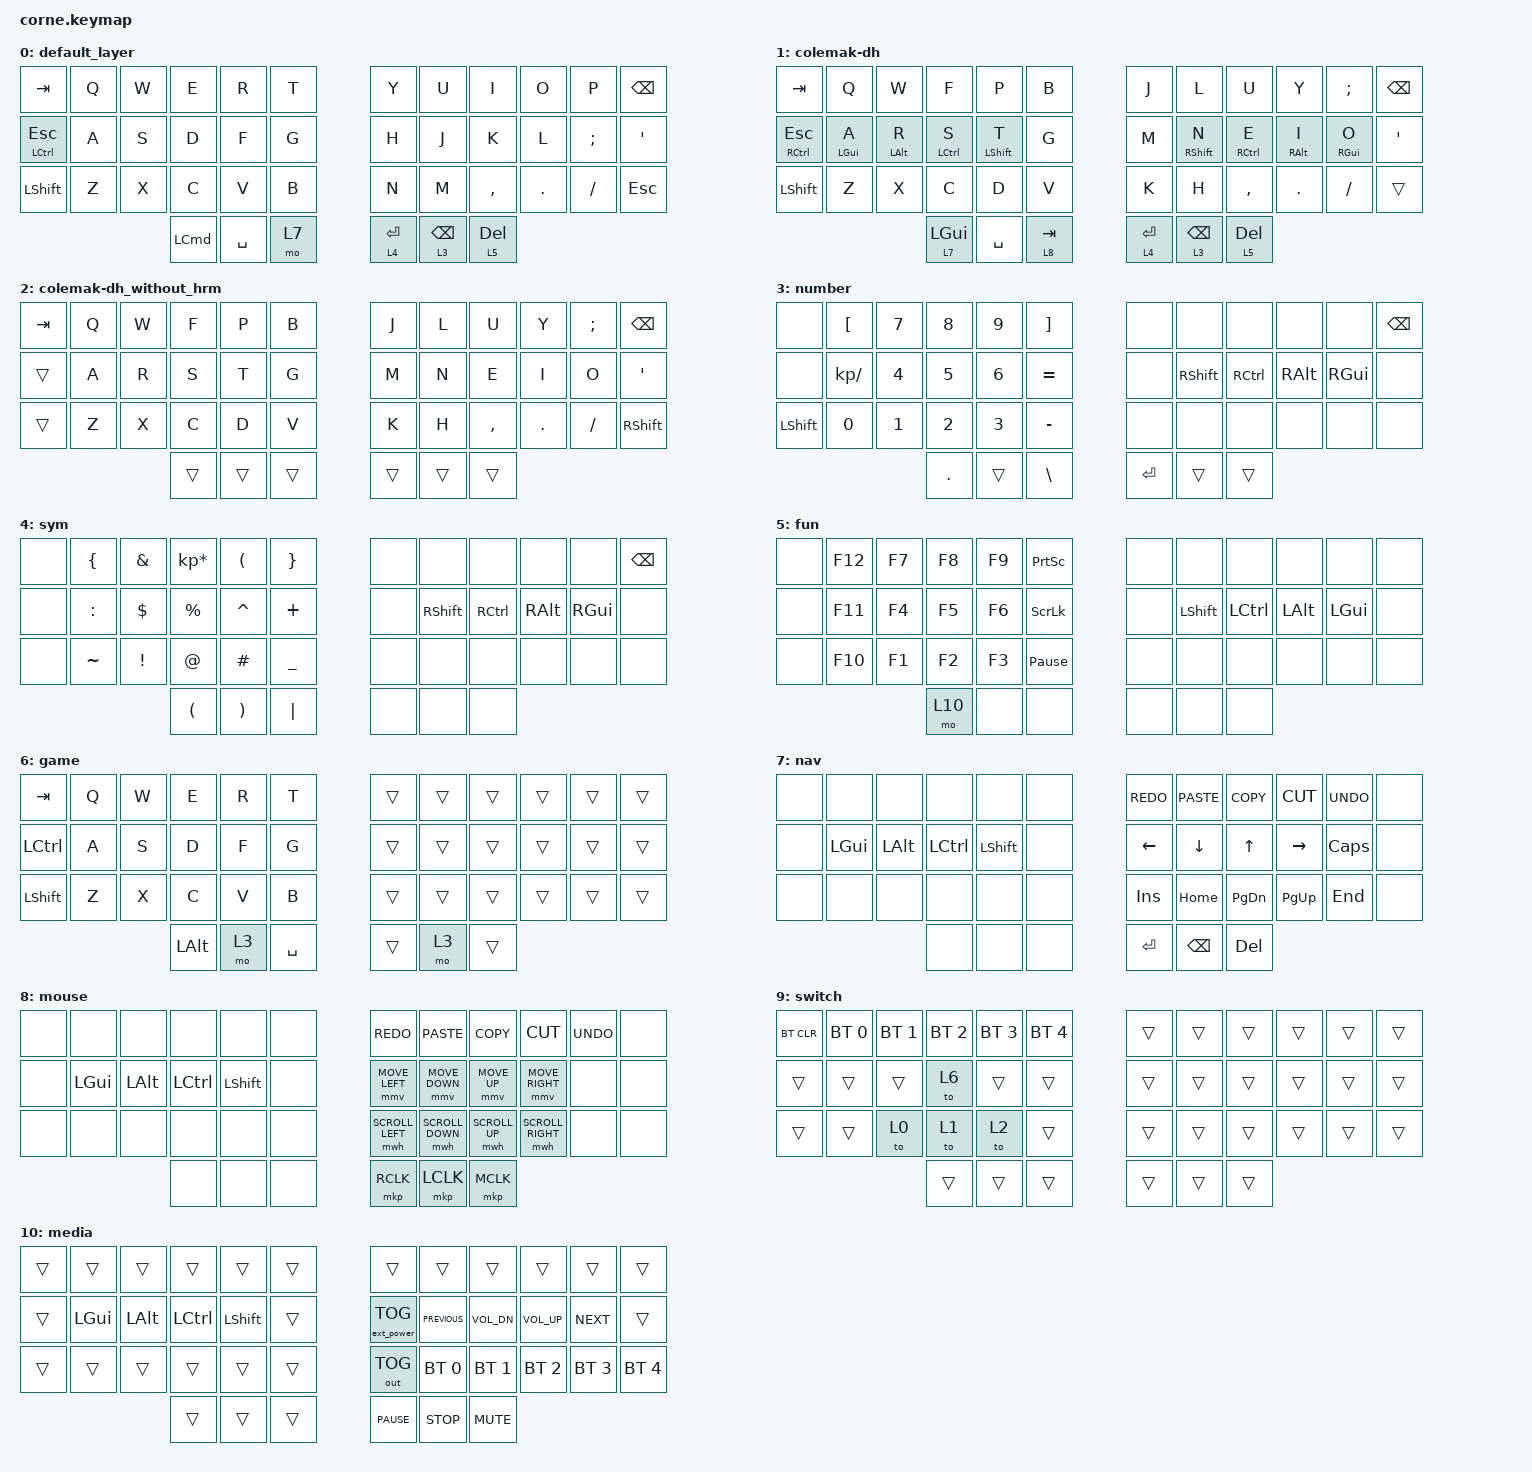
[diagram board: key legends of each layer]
/*
 * Copyright (c) 2020 The ZMK Contributors
 *
 * SPDX-License-Identifier: MIT
 */

#include "helper.h"
#include <dt-bindings/zmk/mouse.h>
#include <behaviors.dtsi>
#include "greek.dtsi"
#include <dt-bindings/zmk/bt.h>
#include <dt-bindings/zmk/ext_power.h>
#include <dt-bindings/zmk/keys.h>
#include <dt-bindings/zmk/outputs.h>

#define U_MOUSE_MOVE_MAX 1400

/ {
    combos {
        compatible = "zmk,combos";

        bracket {
            bindings = <&kp LEFT_PARENTHESIS>;
            key-positions = <15 16>;
        };

        bracket_r {
            bindings = <&kp RIGHT_PARENTHESIS>;
            key-positions = <19 20>;
        };

        lb {
            bindings = <&kp LEFT_BRACKET>;
            key-positions = <4 3>;
        };

        rb {
            bindings = <&kp RIGHT_BRACKET>;
            key-positions = <7 8>;
        };

        lf {
            bindings = <&kp LEFT_BRACE>;
            key-positions = <3 2>;
        };

        rba {
            bindings = <&kp RIGHT_BRACE>;
            key-positions = <8 9>;
        };

        window {
            bindings = <&kp LG(NUMBER_1)>;
            key-positions = <1 36>;
        };

        m2 {
            bindings = <&kp LG(NUMBER_2)>;
            key-positions = <36 2>;
        };

        m3 {
            bindings = <&kp LG(NUMBER_3)>;
            key-positions = <36 3>;
        };

        m4 {
            bindings = <&kp LG(NUMBER_4)>;
            key-positions = <36 4>;
        };

        m5 {
            bindings = <&kp LG(N5)>;
            key-positions = <36 5>;
        };

        m6 {
            bindings = <&kp LG(NUMBER_6)>;
            key-positions = <36 13>;
        };

        m7 {
            bindings = <&kp LG(N7)>;
            key-positions = <36 14>;
        };

        m8 {
            bindings = <&kp LG(N8)>;
            key-positions = <36 15>;
        };

        m9 {
            bindings = <&kp LG(N9)>;
            key-positions = <36 16>;
        };

        m0 {
            bindings = <&kp LG(NUMBER_1)>;
            key-positions = <36 17>;
        };
    };

    macros {
    };

    behaviors {
        hml: homewrow_mods_left {
            compatible = "zmk,behavior-hold-tap";
            label = "homewrow_mods_left";
            bindings = <&kp>, <&kp>;

            #binding-cells = <2>;
            hold-trigger-key-positions = <6 7 9 8 10 11 23 22 35 34 33 21 20 19 18 30 31 32 41 40 39>;
            tapping-term-ms = <300>;
            flavor = "balanced";
            quick-tap-ms = <175>;
            require-prior-idle-ms = <150>;
            hold-trigger-on-release;
        };

        hmr: hmr {
            compatible = "zmk,behavior-hold-tap";
            label = "HMR";
            bindings = <&kp>, <&kp>;

            #binding-cells = <2>;
            tapping-term-ms = <300>;
            hold-trigger-key-positions = <0 1 2 3 4 5 12 13 14 15 16 17 24 25 26 27 28 29 36 37 38>;
            flavor = "balanced";
            quick-tap-ms = <175>;
            require-prior-idle-ms = <150>;
            hold-trigger-on-release;
        };
    };

    keymap {
        compatible = "zmk,keymap";

        default_layer {
            // -----------------------------------------------------------------------------------------
            // |  TAB |  Q  |  W  |  E  |  R  |  T  |   |  Y  |  U   |  I  |  O  |  P  | BKSP |
            // | CTRL |  A  |  S  |  D  |  F  |  G  |   |  H  |  J   |  K  |  L  |  ;  |  '   |
            // | SHFT |  Z  |  X  |  C  |  V  |  B  |   |  N  |  M   |  ,  |  .  |  /  | ESC  |
            //                    | GUI | LWR | SPC |   | ENT | RSE  | ALT |

            bindings = <
&kp TAB           &kp Q  &kp W  &kp E     &kp R      &kp T    &kp Y      &kp U            &kp I      &kp O    &kp P     &kp BSPC
&mt LCTRL ESCAPE  &kp A  &kp S  &kp D     &kp F      &kp G    &kp H      &kp J            &kp K      &kp L    &kp SEMI  &kp SQT
&kp LSHFT         &kp Z  &kp X  &kp C     &kp V      &kp B    &kp N      &kp M            &kp COMMA  &kp DOT  &kp FSLH  &kp ESC
                                &kp LCMD  &kp SPACE  &mo 7    &lt 4 RET  &lt 3 BACKSPACE  &lt 5 DEL
            >;
        };

        colemak-dh {
            bindings = <
&kp TAB           &kp Q            &kp W            &kp F         &kp P              &kp B        &kp J        &kp L               &kp U                 &kp Y             &kp SEMI     &kp BSPC
&mt RCTRL ESCAPE  &hml LEFT_GUI A  &hml LEFT_ALT R  &hml LCTRL S  &hml LEFT_SHIFT T  &kp G        &kp M        &hmr RIGHT_SHIFT N  &hmr RIGHT_CONTROL E  &hmr RIGHT_ALT I  &hmr RGUI O  &kp APOS
&kp LSHFT         &kp Z            &kp X            &kp C         &kp D              &kp V        &kp K        &kp H               &kp COMMA             &kp DOT           &kp FSLH     &trans
                                                    &lt 7 LGUI    &kp SPACE          &lt 8 TAB    &lt 4 ENTER  &lt 3 BACKSPACE     &lt 5 DEL
            >;
        };

        colemak-dh_without_hrm {
            bindings = <
&kp TAB  &kp Q  &kp W  &kp F   &kp P   &kp B     &kp J   &kp L   &kp U      &kp Y    &kp SEMI  &kp BSPC
&trans   &kp A  &kp R  &kp S   &kp T   &kp G     &kp M   &kp N   &kp E      &kp I    &kp O     &kp APOS
&trans   &kp Z  &kp X  &kp C   &kp D   &kp V     &kp K   &kp H   &kp COMMA  &kp DOT  &kp FSLH  &kp RSHFT
                       &trans  &trans  &trans    &trans  &trans  &trans
            >;
        };

        number {
            // -----------------------------------------------------------------------------------------
            // |  TAB |  1  |  2  |  3  |  4  |  5  |   |  6  |  7  |  8  |  9  |  0  | BKSP |
            // | BTCLR| BT1 | BT2 | BT3 | BT4 | BT5 |   | LFT | DWN |  UP | RGT |     |      |
            // | SHFT |     |     |     |     |     |   |     |     |     |     |     |      |
            //                    | GUI |     | SPC |   | ENT |     | ALT |

            bindings = <
&none      &kp LEFT_BRACKET  &kp NUMBER_7  &kp NUMBER_8  &kp N9        &kp RIGHT_BRACKET    &none    &none       &none      &none          &none     &kp BSPC
&none      &kp KP_DIVIDE     &kp NUMBER_4  &kp N5        &kp N6        &kp EQUAL            &none    &kp RSHIFT  &kp RCTRL  &kp RIGHT_ALT  &kp RGUI  &none
&kp LSHFT  &kp N0            &kp NUMBER_1  &kp NUMBER_2  &kp NUMBER_3  &kp MINUS            &none    &none       &none      &none          &none     &none
                                           &kp PERIOD    &trans        &kp BSLH             &kp RET  &trans      &trans
            >;
        };

        sym {
            // -----------------------------------------------------------------------------------------
            // |  TAB |  !  |  @  |  #  |  $  |  %  |   |  ^  |  &  |  *  |  (  |  )  | BKSP |
            // | CTRL |     |     |     |     |     |   |  -  |  =  |  [  |  ]  |  \  |  `   |
            // | SHFT |     |     |     |     |     |   |  _  |  +  |  {  |  }  | "|" |  ~   |
            //                    | GUI |     | SPC |   | ENT |     | ALT |

            bindings = <
&none  &kp LEFT_BRACE  &kp AMPERSAND    &kp KP_MULTIPLY       &kp LEFT_PARENTHESIS   &kp RIGHT_BRACE    &none  &none       &none      &none          &none     &kp BSPC
&none  &kp COLON       &kp DOLLAR       &kp PERCENT           &kp CARET              &kp PLUS           &none  &kp RSHIFT  &kp RCTRL  &kp RIGHT_ALT  &kp RGUI  &none
&none  &kp TILDE       &kp EXCLAMATION  &kp AT                &kp HASH               &kp UNDER          &none  &none       &none      &none          &none     &none
                                        &kp LEFT_PARENTHESIS  &kp RIGHT_PARENTHESIS  &kp PIPE           &none  &none       &none
            >;
        };

        fun {
            bindings = <
&none  &kp F12  &kp F7  &kp F8  &kp F9  &kp PRINTSCREEN    &none  &none      &none      &none     &none     &none
&none  &kp F11  &kp F4  &kp F5  &kp F6  &kp SCROLLLOCK     &none  &kp LSHFT  &kp LCTRL  &kp LALT  &kp LGUI  &none
&none  &kp F10  &kp F1  &kp F2  &kp F3  &kp PAUSE_BREAK    &none  &none      &none      &none     &none     &none
                        &mo 10  &none   &none              &none  &none      &none
            >;
        };

        game {
            bindings = <
&kp TAB    &kp Q  &kp W  &kp E     &kp R  &kp T        &trans  &trans  &trans  &trans  &trans  &trans
&kp LCTRL  &kp A  &kp S  &kp D     &kp F  &kp G        &trans  &trans  &trans  &trans  &trans  &trans
&kp LSHFT  &kp Z  &kp X  &kp C     &kp V  &kp B        &trans  &trans  &trans  &trans  &trans  &trans
                         &kp LALT  &mo 3  &kp SPACE    &trans  &mo 3   &trans
            >;
        };

        nav {
            bindings = <
&none  &none     &none     &none      &none      &none    &kp K_REDO  &kp K_PASTE  &kp K_COPY     &kp K_CUT    &kp K_UNDO  &none
&none  &kp LGUI  &kp LALT  &kp LCTRL  &kp LSHFT  &none    &kp LEFT    &kp DOWN     &kp UP_ARROW   &kp RIGHT    &kp CAPS    &none
&none  &none     &none     &none      &none      &none    &kp INSERT  &kp HOME     &kp PAGE_DOWN  &kp PAGE_UP  &kp END     &none
                           &none      &none      &none    &kp ENTER   &kp BSPC     &kp DEL
            >;
        };

        mouse {
            bindings = <
&none  &none     &none     &none      &none      &none    &kp K_REDO        &kp K_PASTE       &kp K_COPY      &kp K_CUT          &kp K_UNDO  &none
&none  &kp LGUI  &kp LALT  &kp LCTRL  &kp LSHFT  &none    &mmv MOVE_LEFT    &mmv MOVE_DOWN    &mmv MOVE_UP    &mmv MOVE_RIGHT    &none       &none
&none  &none     &none     &none      &none      &none    &mwh SCROLL_LEFT  &mwh SCROLL_DOWN  &mwh SCROLL_UP  &mwh SCROLL_RIGHT  &none       &none
                           &none      &none      &none    &mkp RCLK         &mkp LCLK         &mkp MCLK
            >;
        };

        switch {
            bindings = <
&bt BT_CLR  &bt BT_SEL 0  &bt BT_SEL 1  &bt BT_SEL 2  &bt BT_SEL 3  &bt BT_SEL 4    &trans  &trans  &trans  &trans  &trans  &trans
&trans      &trans        &trans        &to 6         &trans        &trans          &trans  &trans  &trans  &trans  &trans  &trans
&trans      &trans        &to 0         &to 1         &to 2         &trans          &trans  &trans  &trans  &trans  &trans  &trans
                                        &trans        &trans        &trans          &trans  &trans  &trans
            >;

            label = "switch";
        };

        media {
            bindings = <
&trans  &trans    &trans    &trans     &trans     &trans    &trans             &trans          &trans        &trans           &trans        &trans
&trans  &kp LGUI  &kp LALT  &kp LCTRL  &kp LSHFT  &trans    &ext_power EP_TOG  &kp C_PREVIOUS  &kp C_VOL_DN  &kp C_VOLUME_UP  &kp C_NEXT    &trans
&trans  &trans    &trans    &trans     &trans     &trans    &out OUT_TOG       &bt BT_SEL 0    &bt BT_SEL 1  &bt BT_SEL 2     &bt BT_SEL 3  &bt BT_SEL 4
                            &trans     &trans     &trans    &kp C_PAUSE        &kp C_STOP      &kp K_MUTE
            >;
        };
    };

    conditional_layers {
        compatible = "zmk,conditional-layers";

        switch {
            if-layers = <3 5>;
            then-layer = <9>;
        };
    };
};
